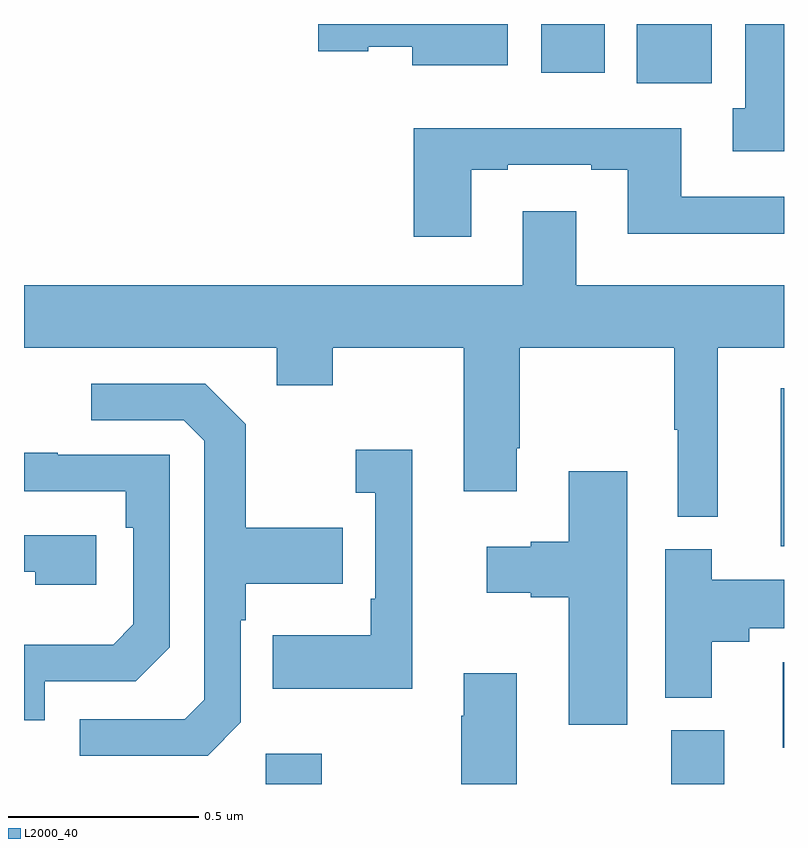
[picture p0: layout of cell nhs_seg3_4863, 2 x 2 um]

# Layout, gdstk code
import gdstk
lib = gdstk.Library(unit=1e-6, precision=1e-09)
def R(c, l, rs):  # rectangles x0, y0, x1, y1
    for r in rs: c.add(gdstk.rectangle(r[:2], r[2:], *l))
def P(c, l, *ps):  # polygons
    for p in ps: c.add(gdstk.Polygon(p, *l))
L2000_40 = (2000, 40)

nhs_seg3_4863 = lib.new_cell('nhs_seg3_4863')
R(nhs_seg3_4863, L2000_40, [(171.636,734.4,171.783,734.479), (172.703,734.4,172.843,734.542), (172.997,734.496,173,734.721), (172.991,735.026,173,735.442), (172.613,736.244,172.81,736.4), (172.361,736.272,172.528,736.4)])
P(nhs_seg3_4863, L2000_40, [(172.273,736.4),(171.774,736.4),(171.774,736.328),(171.906,736.328),(171.906,736.34),(172.022,736.34),(172.022,736.292),(172.273,736.292)],
  [(173,736.4),(172.898,736.4),(172.898,736.178),(172.865,736.178),(172.865,736.065),(173,736.065)],
  [(172.177,736.017),(172.273,736.017),(172.273,736.029),(172.493,736.029),(172.493,736.017),(172.589,736.017),(172.589,735.848),(173,735.848),(173,735.945),(172.729,735.945),(172.729,736.126),(172.025,736.126),(172.025,735.84),(172.177,735.84)],
  [(172.825,735.548),(173,735.548),(173,735.712),(172.453,735.712),(172.453,735.907),(172.313,735.907),(172.313,735.712),(171,735.712),(171,735.548),(171.665,735.548),(171.665,735.449),(171.813,735.449),(171.813,735.548),(172.157,735.548),(172.157,735.171),(172.297,735.171),(172.297,735.283),(172.305,735.283),(172.305,735.548),(172.711,735.548),(172.711,735.332),(172.721,735.332),(172.721,735.103),(172.825,735.103)],
  [(171.57,734.562),(171.57,734.831),(171.583,734.831),(171.583,734.927),(171.839,734.927),(171.839,735.075),(171.583,735.075),(171.583,735.347),(171.477,735.453),(171.177,735.453),(171.177,735.357),(171.42,735.357),(171.474,735.303),(171.474,734.622),(171.423,734.571),(171.147,734.571),(171.147,734.475),(171.483,734.475)],
  [(172.022,735.28),(171.873,735.28),(171.873,735.167),(171.924,735.167),(171.924,734.887),(171.912,734.887),(171.912,734.791),(171.655,734.791),(171.655,734.651),(172.022,734.651)],
  [(171.054,734.67),(171.294,734.67),(171.384,734.76),(171.384,735.267),(171.089,735.267),(171.089,735.272),(171,735.272),(171,735.171),(171.268,735.171),(171.268,735.074),(171.288,735.074),(171.288,734.82),(171.235,734.767),(171,734.767),(171,734.568),(171.054,734.568)],
  [(172.588,735.223),(172.433,735.223),(172.433,735.038),(172.334,735.038),(172.334,735.025),(172.218,735.025),(172.218,734.903),(172.334,734.903),(172.334,734.891),(172.433,734.891),(172.433,734.556),(172.588,734.556)],
  [(171.19,735.054),(171,735.054),(171,734.958),(171.029,734.958),(171.029,734.924),(171.19,734.924)],
  [(172.81,734.774),(172.909,734.774),(172.909,734.81),(173,734.81),(173,734.938),(172.81,734.938),(172.81,735.018),(172.688,735.018),(172.688,734.627),(172.81,734.627)],
  [(172.297,734.692),(172.157,734.692),(172.157,734.579),(172.15,734.579),(172.15,734.4),(172.297,734.4)])

lib.write_gds('nhs_seg3_4863.gds')
